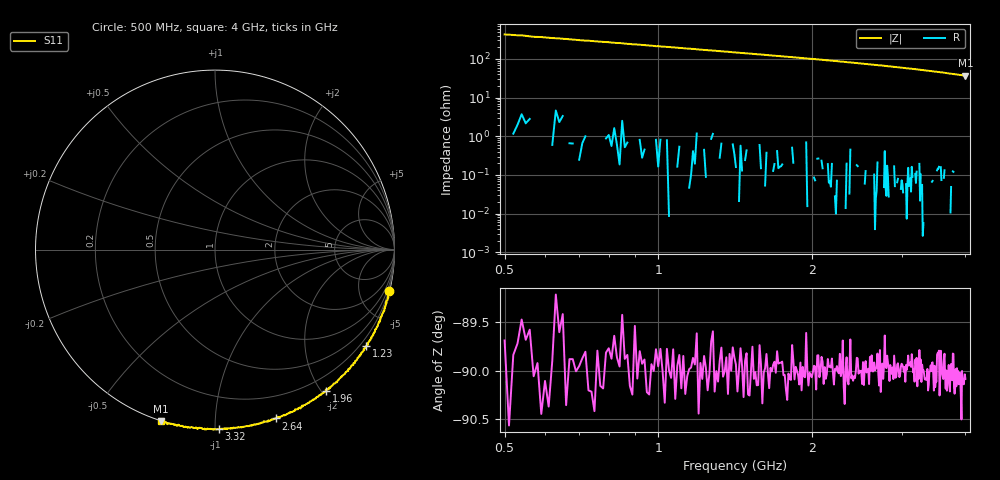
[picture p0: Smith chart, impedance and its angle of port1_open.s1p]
!Agilent Technologies,E8363C,MY49030273,A.09.42.18
!Agilent E8363C: A.09.42.18
!Date: Tuesday, May 03, 2022 03:54:22
!Correction: S11(Full 2 Port(1,2))
!S1P File: Measurement: S11:
!Created with skrf (http://scikit-rf.org).
# GHz S RI R 50.0
!freq ReS11 ImS11
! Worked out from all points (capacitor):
!   351 points, 500 MHz to 4 GHz, reference 50 ohm
!   read as one part to ground: C = 740 fF near 510 MHz
!   lowest |Z| = 36.7 ohm at 4 GHz (marker M1)
!   S11 on the Smith chart (normalised r, x): 500 MHz: 0.05, -8.58; 1.23 GHz: 0.01, -3.43; 1.96 GHz: 0.00, -2.06; 2.64 GHz: -0.00, -1.43; 3.32 GHz: -0.00, -1.02; 4 GHz: -0.00, -0.73
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0.5  0.972 -0.2296
0.66  0.9566 -0.2975
0.94  0.9073 -0.4184
1.23  0.842 -0.5368
1.38  0.8024 -0.5939
1.6  0.7423 -0.676
1.82  0.6676 -0.7462
1.96  0.6184 -0.7857
2.25  0.5037 -0.864
2.3  0.4849 -0.8692
2.32  0.4763 -0.8853
2.33  0.4741 -0.8803
2.34  0.4634 -0.8838
2.43  0.4313 -0.9035
2.44  0.4197 -0.9077
2.64  0.3402 -0.9405
2.69  0.3149 -0.9461
2.73  0.2958 -0.9591
2.77  0.2835 -0.9582
2.78  0.2714 -0.9562
2.92  0.2065 -0.9797
3.13  0.1115 -0.9931
3.32  0.0205 -1
3.57  -0.0979 -0.9967
3.9  -0.2531 -0.9678
3.93  -0.2655 -0.9729
3.94  -0.2719 -0.9624
4  -0.3014 -0.955
